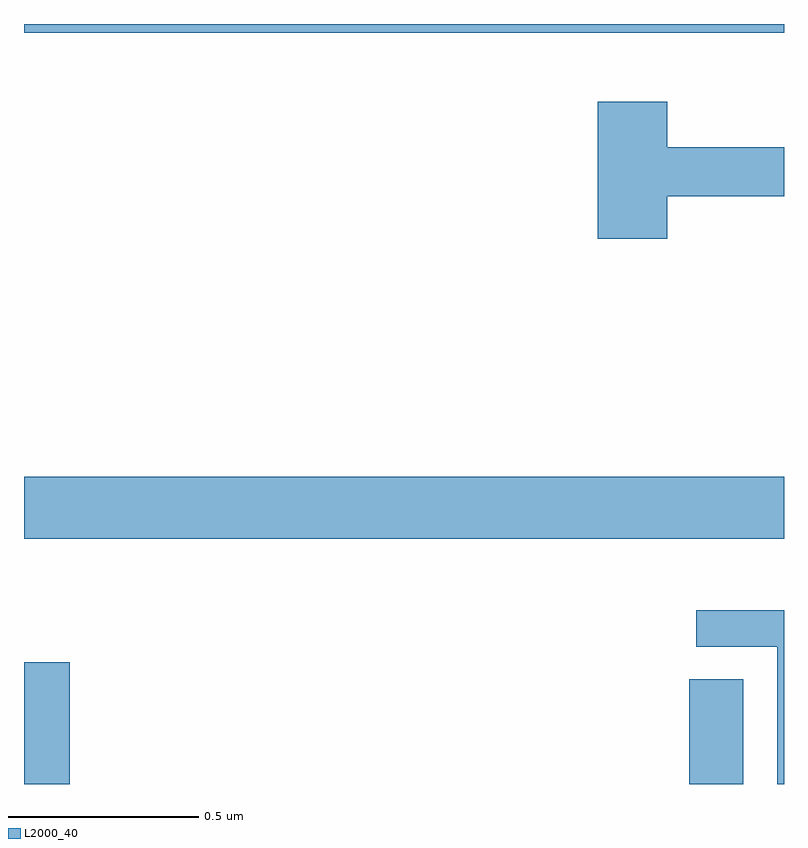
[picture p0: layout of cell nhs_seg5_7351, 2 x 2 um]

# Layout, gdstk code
import gdstk
lib = gdstk.Library(unit=1e-6, precision=1e-09)
def R(c, l, rs):  # rectangles x0, y0, x1, y1
    for r in rs: c.add(gdstk.rectangle(r[:2], r[2:], *l))
def P(c, l, *ps):  # polygons
    for p in ps: c.add(gdstk.Polygon(p, *l))
L2000_40 = (2000, 40)

nhs_seg5_7351 = lib.new_cell('nhs_seg5_7351')
R(nhs_seg5_7351, L2000_40, [(208,838.799,208.121,839.119), (209.75,838.799,209.893,839.075), (208,839.444,210,839.608), (208,840.776,210,840.799)])
P(nhs_seg5_7351, L2000_40, [(209.693,840.346),(210,840.346),(210,840.475),(209.693,840.475),(209.693,840.595),(209.51,840.595),(209.51,840.234),(209.693,840.234)],
  [(210,839.256),(209.769,839.256),(209.769,839.16),(209.982,839.16),(209.982,838.799),(210,838.799)])

lib.write_gds('nhs_seg5_7351.gds')
